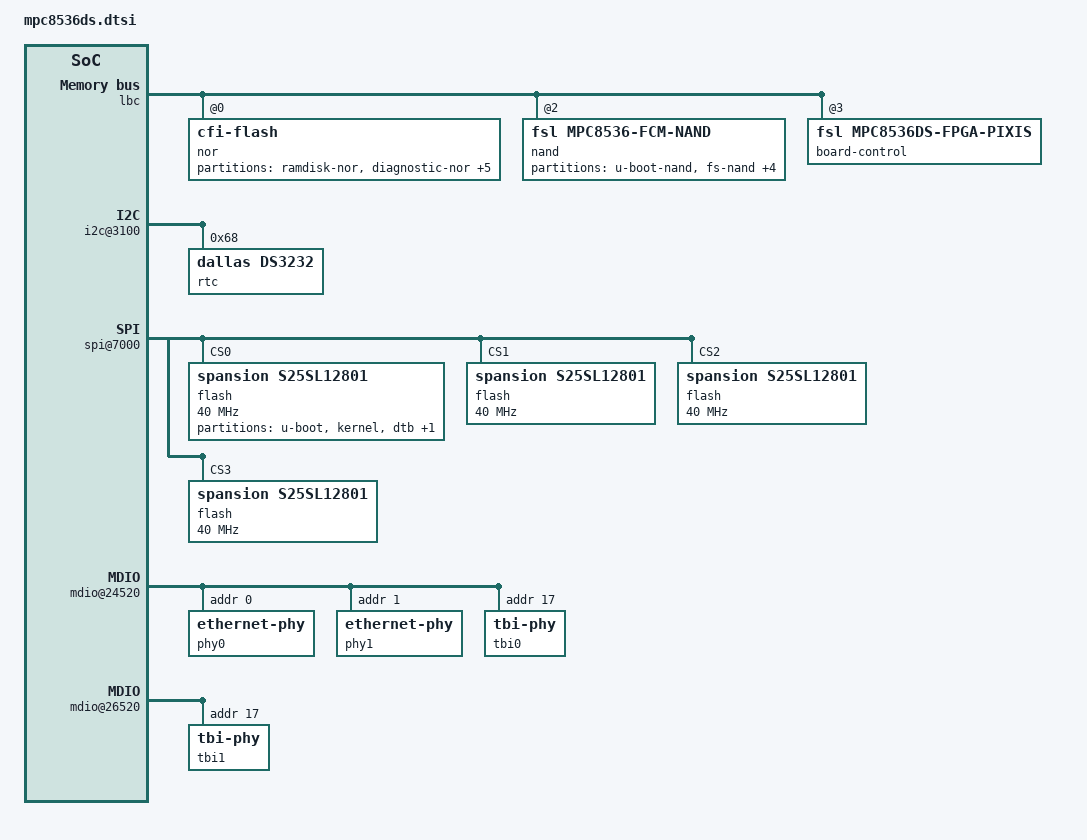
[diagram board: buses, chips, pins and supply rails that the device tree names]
/*
 * MPC8536DS Device Tree Source stub (no addresses or top-level ranges)
 *
 * Copyright 2011 Freescale Semiconductor Inc.
 *
 * Redistribution and use in source and binary forms, with or without
 * modification, are permitted provided that the following conditions are met:
 *     * Redistributions of source code must retain the above copyright
 *       notice, this list of conditions and the following disclaimer.
 *     * Redistributions in binary form must reproduce the above copyright
 *       notice, this list of conditions and the following disclaimer in the
 *       documentation and/or other materials provided with the distribution.
 *     * Neither the name of Freescale Semiconductor nor the
 *       names of its contributors may be used to endorse or promote products
 *       derived from this software without specific prior written permission.
 *
 *
 * ALTERNATIVELY, this software may be distributed under the terms of the
 * GNU General Public License ("GPL") as published by the Free Software
 * Foundation, either version 2 of that License or (at your option) any
 * later version.
 *
 * THIS SOFTWARE IS PROVIDED BY Freescale Semiconductor ``AS IS'' AND ANY
 * EXPRESS OR IMPLIED WARRANTIES, INCLUDING, BUT NOT LIMITED TO, THE IMPLIED
 * WARRANTIES OF MERCHANTABILITY AND FITNESS FOR A PARTICULAR PURPOSE ARE
 * DISCLAIMED. IN NO EVENT SHALL Freescale Semiconductor BE LIABLE FOR ANY
 * DIRECT, INDIRECT, INCIDENTAL, SPECIAL, EXEMPLARY, OR CONSEQUENTIAL DAMAGES
 * (INCLUDING, BUT NOT LIMITED TO, PROCUREMENT OF SUBSTITUTE GOODS OR SERVICES;
 * LOSS OF USE, DATA, OR PROFITS; OR BUSINESS INTERRUPTION) HOWEVER CAUSED AND
 * ON ANY THEORY OF LIABILITY, WHETHER IN CONTRACT, STRICT LIABILITY, OR TORT
 * (INCLUDING NEGLIGENCE OR OTHERWISE) ARISING IN ANY WAY OUT OF THE USE OF THIS
 * SOFTWARE, EVEN IF ADVISED OF THE POSSIBILITY OF SUCH DAMAGE.
 */

&lbc {
	nor@0,0 {
		#address-cells = <1>;
		#size-cells = <1>;
		compatible = "cfi-flash";
		reg = <0x0 0x0 0x8000000>;
		bank-width = <2>;
		device-width = <1>;

		partition@0 {
			reg = <0x0 0x03000000>;
			label = "ramdisk-nor";
		};

		partition@3000000 {
			reg = <0x03000000 0x00e00000>;
			label = "diagnostic-nor";
			read-only;
		};

		partition@3e00000 {
			reg = <0x03e00000 0x00200000>;
			label = "dink-nor";
			read-only;
		};

		partition@4000000 {
			reg = <0x04000000 0x00400000>;
			label = "kernel-nor";
		};

		partition@4400000 {
			reg = <0x04400000 0x03b00000>;
			label = "fs-nor";
		};

		partition@7f00000 {
			reg = <0x07f00000 0x00080000>;
			label = "dtb-nor";
		};

		partition@7f80000 {
			reg = <0x07f80000 0x00080000>;
			label = "u-boot-nor";
			read-only;
		};
	};

	nand@2,0 {
		#address-cells = <1>;
		#size-cells = <1>;
		compatible = "fsl,mpc8536-fcm-nand",
			     "fsl,elbc-fcm-nand";
		reg = <0x2 0x0 0x40000>;

		partition@0 {
			reg = <0x0 0x02000000>;
			label = "u-boot-nand";
			read-only;
		};

		partition@2000000 {
			reg = <0x02000000 0x10000000>;
			label = "fs-nand";
		};

		partition@12000000 {
			reg = <0x12000000 0x08000000>;
			label = "ramdisk-nand";
		};

		partition@1a000000 {
			reg = <0x1a000000 0x04000000>;
			label = "kernel-nand";
		};

		partition@1e000000 {
			reg = <0x1e000000 0x01000000>;
			label = "dtb-nand";
		};

		partition@1f000000 {
			reg = <0x1f000000 0x21000000>;
			label = "empty-nand";
		};
	};

	board-control@3,0 {
		compatible = "fsl,mpc8536ds-fpga-pixis";
		reg = <0x3 0x0 0x8000>;
	};
};

&board_soc {
	i2c@3100 {
		rtc@68 {
			compatible = "dallas,ds3232";
			reg = <0x68>;
			interrupts = <0 0x1 0 0>;
		};
	};

	spi@7000 {
		flash@0 {
			#address-cells = <1>;
			#size-cells = <1>;
			compatible = "spansion,s25sl12801";
			reg = <0>;
			spi-max-frequency = <40000000>;
			partition@u-boot {
				label = "u-boot";
				reg = <0x00000000 0x00100000>;
				read-only;
			};
			partition@kernel {
				label = "kernel";
				reg = <0x00100000 0x00500000>;
				read-only;
			};
			partition@dtb {
				label = "dtb";
				reg = <0x00600000 0x00100000>;
				read-only;
			};
			partition@fs {
				label = "file system";
				reg = <0x00700000 0x00900000>;
			};
		};
		flash@1 {
			compatible = "spansion,s25sl12801";
			reg = <1>;
			spi-max-frequency = <40000000>;
		};
		flash@2 {
			compatible = "spansion,s25sl12801";
			reg = <2>;
			spi-max-frequency = <40000000>;
		};
		flash@3 {
			compatible = "spansion,s25sl12801";
			reg = <3>;
			spi-max-frequency = <40000000>;
		};
	};

	usb@22000 {
		phy_type = "ulpi";
	};

	usb@23000 {
		phy_type = "ulpi";
	};

	enet0: ethernet@24000 {
		tbi-handle = <&tbi0>;
		phy-handle = <&phy1>;
		phy-connection-type = "rgmii-id";
	};

	mdio@24520 {
		phy0: ethernet-phy@0 {
			interrupts = <10 0x1 0 0>;
			reg = <0>;
			device_type = "ethernet-phy";
		};
		phy1: ethernet-phy@1 {
			interrupts = <10 0x1 0 0>;
			reg = <1>;
			device_type = "ethernet-phy";
		};
		tbi0: tbi-phy@11 {
			reg = <0x11>;
			device_type = "tbi-phy";
		};
	};

	enet2: ethernet@26000 {
		tbi-handle = <&tbi1>;
		phy-handle = <&phy0>;
		phy-connection-type = "rgmii-id";
	};

	mdio@26520 {
		#address-cells = <1>;
		#size-cells = <0>;
		compatible = "fsl,gianfar-tbi";
		reg = <0x26520 0x20>;

		tbi1: tbi-phy@11 {
			reg = <0x11>;
			device_type = "tbi-phy";
		};
	};

	usb@2b000 {
		dr_mode = "peripheral";
		phy_type = "ulpi";
	};
};
